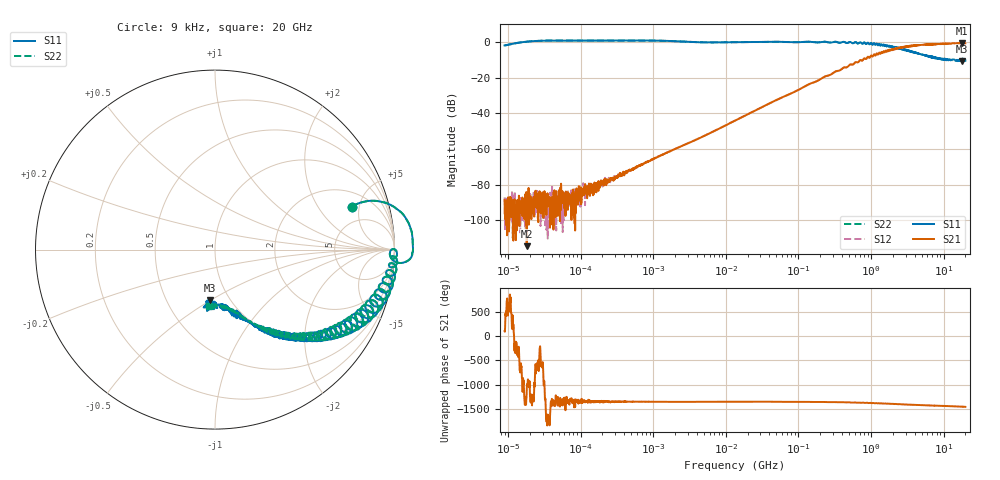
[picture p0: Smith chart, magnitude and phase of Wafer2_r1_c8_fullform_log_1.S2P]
!  2-Port S-parameters saved by WinCal
! VAR MeasName=S-Parameters (CALIBRATED_DATA) read from VNA (P5004A)
! VAR MeasDate=26/04/2024 19:08:17
! VAR NAME=Wafer2_r1_c8_fullform_log
! VAR FILENAME=Wafer2_r1_c8_fullform_log_1.S2P
! VAR DATE=26/04/2024 19:08:17
! VAR PHYS_PORTS=1,2
! VAR ObjTypeName=DATASET
! VAR IndexType=Frequency
# Hz S MA R 50
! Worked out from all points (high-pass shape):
!   2000 points, 9 kHz to 20 GHz, reference 50 ohm
!   highest |S21| = -0.64 dB at 18.05 GHz (marker M1); lowest = -114.4 dB at 18.16 kHz (marker M2)
!   |S21| within 3 dB of the highest: 2.259 GHz to 2.317 GHz (57.88 MHz wide, 2.53 % of centre); 2.346 GHz to end of sweep (the widest 2 of 3)
!   lowest |S11| = -10.9 dB at 17.79 GHz (marker M3), VSWR 1.79, Z = 40.6 - j25 ohm
!   |S11| at or under -10 dB: 12.17 GHz to 12.93 GHz (760.5 MHz wide, 6.06 % of centre); 14.28 GHz to 16.05 GHz (1.77 GHz wide, 11.7 % of centre); 16.06 GHz to 17.02 GHz (951.2 MHz wide, 5.75 % of centre) (the widest 3 of 17)
!   |S22| runs from -10.6 to 0.9 dB; largest |S21 - S12| = 0.037
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9000  0.7978 17.3  3.719e-05 102.2  4.433e-05 -166.3  0.7978 17.3
12597.71  0.9213 17.2  4.511e-06 134.6  2.343e-05 12.1  0.9211 17.2
18156.86  1.023 13.6  1.906e-06 -8.0  2.095e-05 -165.1  1.023 13.6
33553.6  1.092 7.3  3.232e-05 105.3  1.11e-05 71.3  1.091 7.3
103439.5  1.102 2.1  4.919e-05 149.6  3.476e-05 105.2  1.102 2.1
201191.5  1.103 0.8  0.0001124 74.5  8.887e-05 91.0  1.103 0.8
1180198  1.09 -2.6  0.0006227 86.8  0.0006226 86.7  1.09 -2.6
4530556  0.9807 -2.6  0.0021 86.7  0.002125 86.7  0.9807 -2.6
1.346554e7  0.986 0.1  0.006277 89.1  0.00631 88.7  0.9861 0.1
1.105652e8  0.9952 -2.1  0.05048 86.5  0.05086 86.1  0.9947 -2.1
1.536358e8  1 -5.6  0.07085 82.6  0.07012 82.8  1.001 -5.5
2.966476e8  0.9821 -6.7  0.1315 81.3  0.1328 81.2  0.982 -6.7
7.506948e8  0.8961 -20.9  0.2996 66.2  0.2989 66.4  0.8977 -20.7
1.043128e9  0.8528 -28.0  0.3912 58.7  0.3914 58.8  0.8544 -27.7
1.752917e9  0.7415 -37.5  0.5569 47.9  0.5599 47.9  0.7412 -37.3
2.860783e9  0.6252 -50.0  0.7299 33.8  0.7345 33.5  0.6232 -49.7
5.364551e9  0.4335 -66.5  0.8401 15.6  0.8378 15.3  0.4317 -65.1
9.488158e9  0.3351 -80.7  0.8902 1.5  0.8802 1.3  0.3337 -77.1
1.347662e10  0.3257 -87.7  0.9244 -5.9  0.9203 -6.8  0.3101 -86.4
1.779223e10  0.2841 -95.2  0.8795 -14.8  0.8838 -12.6  0.3265 -92.3
1.805428e10  0.3394 -97.1  0.9287 -14.8  0.9021 -16.4  0.2941 -92.7
2e10  0.2984 -96.9  0.8869 -17.8  0.8996 -17.1  0.3151 -96.4
